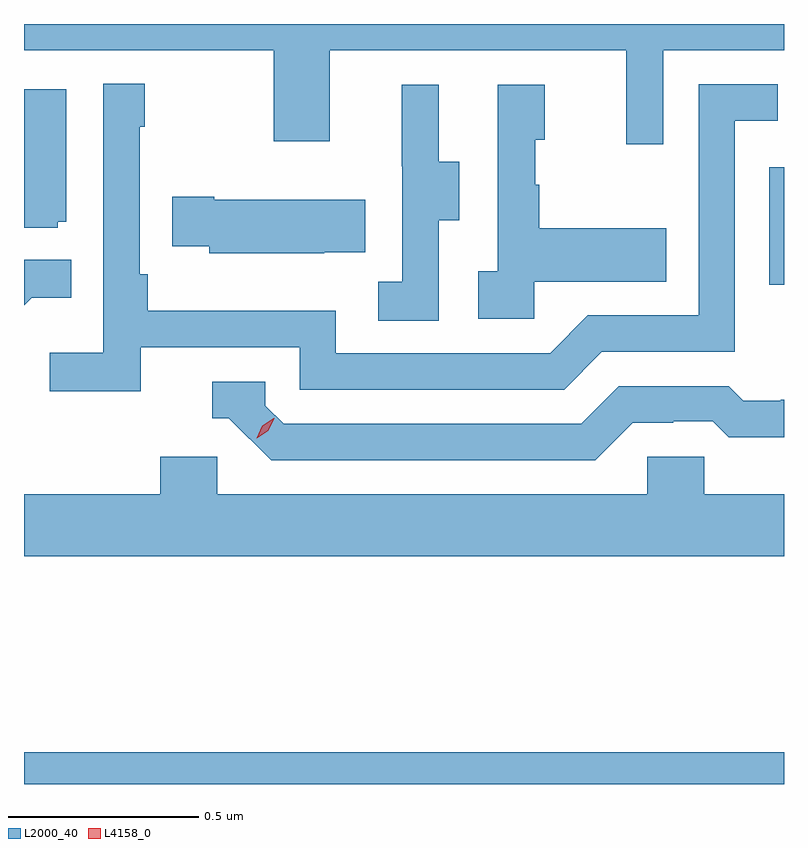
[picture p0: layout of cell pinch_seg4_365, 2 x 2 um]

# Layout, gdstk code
import gdstk
lib = gdstk.Library(unit=1e-6, precision=1e-09)
def R(c, l, rs):  # rectangles x0, y0, x1, y1
    for r in rs: c.add(gdstk.rectangle(r[:2], r[2:], *l))
def P(c, l, *ps):  # polygons
    for p in ps: c.add(gdstk.Polygon(p, *l))
L2000_40 = (2000, 40)
L4158_0 = (4158, 0)

pinch_seg4_365 = lib.new_cell('pinch_seg4_365')
R(pinch_seg4_365, L2000_40, [(974.359,796.221,976.359,796.304), (976.32,797.535,976.359,797.844)])
P(pinch_seg4_365, L2000_40, [(976.041,798.152),(976.359,798.152),(976.359,798.221),(974.359,798.221),(974.359,798.152),(975.016,798.152),(975.016,797.913),(975.163,797.913),(975.163,798.152),(975.944,798.152),(975.944,797.904),(976.041,797.904)],
  [(974.666,797.37),(975.084,797.37),(975.084,797.259),(975.781,797.259),(975.88,797.358),(976.23,797.358),(976.23,797.967),(976.343,797.967),(976.343,798.063),(976.134,798.063),(976.134,797.454),(975.843,797.454),(975.744,797.355),(975.18,797.355),(975.18,797.467),(974.684,797.467),(974.684,797.563),(974.664,797.563),(974.664,797.951),(974.677,797.951),(974.677,798.064),(974.568,798.064),(974.568,797.356),(974.427,797.356),(974.427,797.254),(974.666,797.254)],
  [(975.702,797.543),(976.049,797.543),(976.049,797.683),(975.715,797.683),(975.715,797.798),(975.705,797.798),(975.705,797.916),(975.73,797.916),(975.73,798.061),(975.606,798.061),(975.606,797.57),(975.555,797.57),(975.555,797.445),(975.702,797.445)],
  [(975.45,797.704),(975.505,797.704),(975.505,797.859),(975.451,797.859),(975.451,798.061),(975.353,798.061),(975.353,797.847),(975.354,797.847),(975.354,797.543),(975.291,797.543),(975.291,797.44),(975.45,797.44)],
  [(974.448,797.7),(974.47,797.7),(974.47,798.049),(974.359,798.049),(974.359,797.685),(974.448,797.685)],
  [(975.149,797.621),(975.257,797.621),(975.257,797.758),(974.86,797.758),(974.86,797.766),(974.749,797.766),(974.749,797.636),(974.847,797.636),(974.847,797.618),(975.149,797.618)],
  [(974.379,797.501),(974.483,797.501),(974.483,797.6),(974.359,797.6),(974.359,797.481)],
  [(975.961,797.172),(976.068,797.172),(976.068,797.175),(976.171,797.175),(976.213,797.133),(976.359,797.133),(976.359,797.232),(976.351,797.232),(976.351,797.229),(976.252,797.229),(976.213,797.268),(975.924,797.268),(975.825,797.169),(975.042,797.169),(974.994,797.217),(974.994,797.28),(974.855,797.28),(974.855,797.184),(974.898,797.184),(975.009,797.073),(975.862,797.073)],
  [(976.359,796.984),(976.149,796.984),(976.149,797.082),(975.999,797.082),(975.999,796.984),(974.868,796.984),(974.868,797.082),(974.717,797.082),(974.717,796.984),(974.359,796.984),(974.359,796.82),(976.359,796.82)])
P(pinch_seg4_365, L4158_0, [(974.971,797.131),(974.971,797.131),(974.986,797.164),(975.016,797.184),(975.017,797.184),(975.017,797.184),(975.002,797.151),(974.971,797.131)])

lib.write_gds('pinch_seg4_365.gds')
